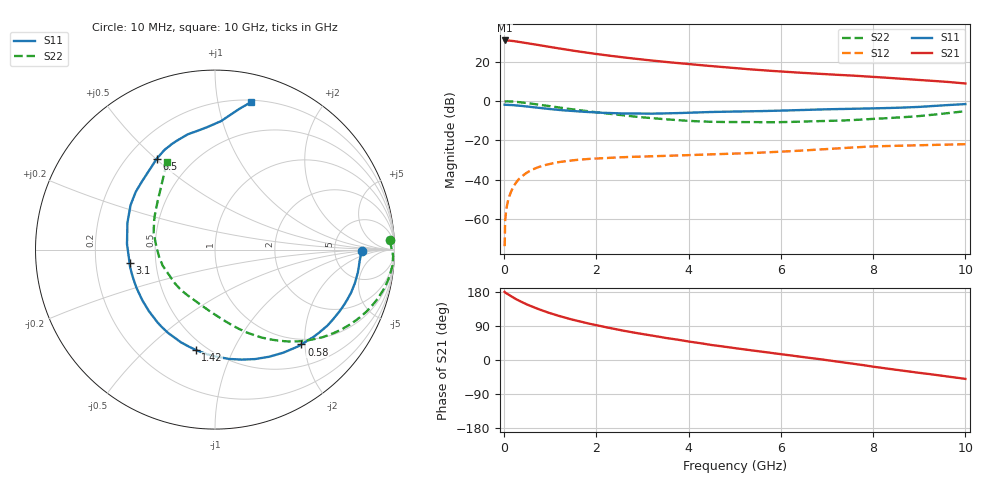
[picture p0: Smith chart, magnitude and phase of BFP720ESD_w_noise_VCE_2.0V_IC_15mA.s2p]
! Infineon Technologies  Discrete & RF Semiconductors
! BFP720ESD
! VCE =  2.0 V,  IC =  15 mA
! Common Emitter S-Parameters:  Jan 2016
# GHz  S  MA  R  50
!  f  S11  S21  S12  S22
! GHz  MAG  ANG  MAG  ANG  MAG  ANG  MAG  ANG
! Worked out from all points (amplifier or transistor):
!   233 points, 10 MHz to 10 GHz, reference 50 ohm
!   highest |S21| = 31.0 dB at 10 MHz (marker M1)
!   |S21| within 3 dB of that: start of sweep to 913.9 MHz
!   unconditionally stable (mu >= 1): 4.71 GHz to 7.446 GHz
!   at 200 MHz: K = 0.11, MSG = 37.2 dB, |S12| = -43.6 dB
!   at 1.74 GHz: K = 0.49, MSG = 27.3 dB, |S12| = -29.6 dB
!   at 10 GHz: K = 0.71, MSG = 15.5 dB, |S12| = -21.9 dB
!   lowest NFmin = 0.81 dB at 450 MHz
!   S11 on the Smith chart (normalised r, x): 10 MHz: 9.86, -0.51; 580 MHz: 0.89, -1.93; 1.42 GHz: 0.44, -0.73; 3.1 GHz: 0.35, -0.07; 6.5 GHz: 0.32, +0.50; 10 GHz: 0.22, +1.25
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0.01  0.8163 -0.6  35.55 179.8  0.0002 -109.7  0.9749 3.0
0.02  0.8144 -1.6  35.36 178.2  0.0008 101.9  0.9871 -0.3
0.04  0.8104 -3.4  35.28 176.6  0.0015 94.0  0.9911 -1.5
0.13  0.8031 -11.6  35.03 170.0  0.0043 83.3  0.9884 -6.8
0.28  0.779 -24.3  33.33 159.2  0.0091 76.1  0.9585 -14.5
0.4  0.7562 -34.0  31.71 151.8  0.0125 71.4  0.9258 -20.1
0.58  0.7147 -47.7  29.23 142.0  0.0171 64.5  0.8715 -27.6
0.7  0.6891 -56.4  27.74 136.2  0.0199 60.5  0.8351 -32.1
0.9  0.6494 -69.9  25.33 127.4  0.0237 54.3  0.7746 -39.0
1.16  0.6038 -86.2  22.55 117.3  0.0275 47.8  0.6998 -46.8
1.42  0.5691 -100.8  20.12 108.3  0.0304 42.6  0.6344 -53.4
1.68  0.5418 -113.8  18.13 100.4  0.0326 38.4  0.5803 -59.2
1.98  0.5182 -127.4  16.16 92.3  0.0346 34.7  0.5277 -65.1
2.38  0.4941 -144.3  14.07 82.3  0.0366 30.8  0.465 -72.7
3.1  0.4817 -171.1  11.25 66.6  0.039 26.3  0.3788 -86.3
3.4  0.4867 179.5  10.34 60.5  0.04 25.3  0.3538 -92.2
4  0.5103 163.0  8.887 48.8  0.0422 23.8  0.3157 -105.4
5.1  0.5479 142.4  6.846 29.6  0.0466 21.6  0.2933 -131.9
6.5  0.6013 122.7  5.272 7.4  0.0555 19.5  0.3048 -162.8
6.8  0.6133 119.2  5.024 2.9  0.0582 18.5  0.3092 -168.8
8.4  0.6737 96.6  3.89 -24.2  0.0725 6.6  0.3752 154.7
10  0.8456 76.3  2.838 -49.8  0.0801 -5.2  0.5571 118.7
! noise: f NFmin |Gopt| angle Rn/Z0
0.45  0.81  0.12  1  0.13
0.9  0.83  0.12  7  0.12
1.9  0.85  0.1  5  0.13
2.4  0.86  0.09  4  0.14
5.5  1.05  0.14  -111  0.11
10  1.42  0.51  -89  0.39
